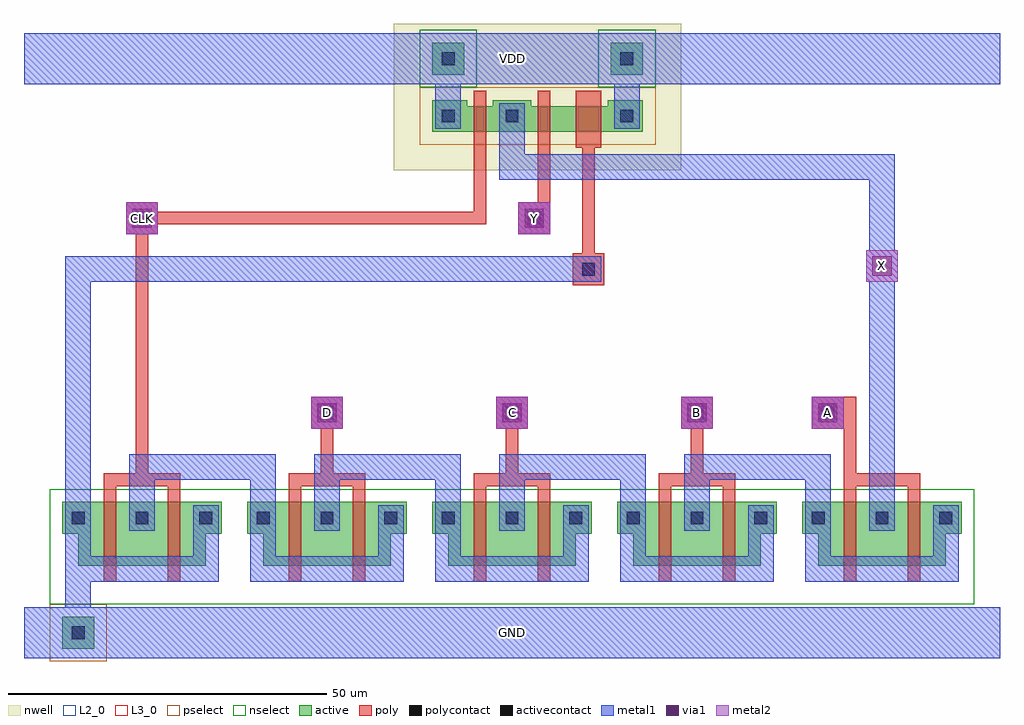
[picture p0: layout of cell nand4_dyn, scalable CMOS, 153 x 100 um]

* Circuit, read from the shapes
.subckt nand4_dyn A B C CLK D GND VDD X Y
M1 n1 CLK GND GND nfet w=10u l=2u m=2
M2 n2 D n1 GND nfet w=10u l=2u m=2
M3 n3 C n2 GND nfet w=10u l=2u m=2
M4 n4 B n3 GND nfet w=10u l=2u m=2
M5 X A n4 GND nfet w=10u l=2u m=2
M6 X CLK VDD VDD pfet w=4u l=2u
M7 n5 Y X VDD pfet w=4u l=2u
M8 VDD GND n5 VDD pfet w=4u l=4u
.ends

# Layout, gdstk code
import gdstk
lib = gdstk.Library(unit=1e-6, precision=1e-09)
def R(c, l, rs):  # rectangles x0, y0, x1, y1
    for r in rs: c.add(gdstk.rectangle(r[:2], r[2:], *l))
def A(c, l, x, y, w, h, nx, ny, dx, dy):  # array of equal rectangles
    R(c, l, [(x+i*dx, y+j*dy, x+i*dx+w, y+j*dy+h) for i in range(nx) for j in range(ny)])
def P(c, l, *ps):  # polygons
    for p in ps: c.add(gdstk.Polygon(p, *l))
L2_0 = (2, 0)
L3_0 = (3, 0)
nwell = (42, 0)
active = (43, 0)
pselect = (44, 0)
nselect = (45, 0)
poly = (46, 0)
polycontact = (47, 0)
activecontact = (48, 0)
metal1 = (49, 0)
via1 = (50, 0)
metal2 = (51, 0)

nand4_dyn = lib.new_cell('nand4_dyn')
R(nand4_dyn, L2_0, [(-58,-99.5,95,-91.5), (-58,-9.5,95,-1.5)])
A(nand4_dyn, L3_0, -13, -63.5, 5, 5, 3, 1, 29, 0)
R(nand4_dyn, L3_0, [(65.5,-63.5,70.5,-58.5), (74,-40.5,79,-35.5), (-42,-33,-37,-28), (19.5,-33,24.5,-28)])
R(nand4_dyn, nwell, [(0,-23,45,0)])
R(nand4_dyn, active, [(-52,-98,-47,-93), (6,-8,11,-3), (34,-8,39,-3)])
P(nand4_dyn, active, [(6,-17),(39,-17),(39,-12),(33.5,-12),(33.5,-13),(21.5,-13),(21.5,-12),(15.5,-12),(15.5,-13),(11.5,-13),(11.5,-12),(6,-12)],
  [(35,-80),(37.5,-80),(37.5,-85),(57.5,-85),(57.5,-80),(60,-80),(60,-75),(35,-75)],
  [(-52,-80),(-49.5,-80),(-49.5,-85),(-29.5,-85),(-29.5,-80),(-27,-80),(-27,-75),(-52,-75)],
  [(-23,-80),(-20.5,-80),(-20.5,-85),(-0.5,-85),(-0.5,-80),(2,-80),(2,-75),(-23,-75)],
  [(6,-80),(8.5,-80),(8.5,-85),(28.5,-85),(28.5,-80),(31,-80),(31,-75),(6,-75)],
  [(64,-80),(66.5,-80),(66.5,-85),(86.5,-85),(86.5,-80),(89,-80),(89,-75),(64,-75)])
R(nand4_dyn, pselect, [(-54,-100,-45,-91), (4,-19,41,-10)])
R(nand4_dyn, nselect, [(-54,-91,91,-73), (4,-10,13,-1), (32,-10,41,-1)])
A(nand4_dyn, poly, -13, -63.5, 5, 5, 3, 1, 29, 0)
R(nand4_dyn, poly, [(-45.5,-87.5,-43.5,-72.5), (-35.5,-87.5,-33.5,-72.5), (-16.5,-87.5,-14.5,-72.5), (-6.5,-87.5,-4.5,-72.5), (12.5,-87.5,14.5,-72.5), (22.5,-87.5,24.5,-72.5), (41.5,-87.5,43.5,-72.5), (51.5,-87.5,53.5,-72.5), (70.5,-87.5,72.5,-72.5), (80.5,-87.5,82.5,-72.5), (65.5,-63.5,70.5,-58.5), (28,-41,33,-36), (-42,-33,-37,-28), (19.5,-33,24.5,-28), (12.5,-19.5,14.5,-10.5), (22.5,-19.5,24.5,-10.5), (28.5,-19.5,32.5,-10.5)])
A(nand4_dyn, polycontact, -11.5, -62, 2, 2, 3, 1, 29, 0)
R(nand4_dyn, polycontact, [(67,-62,69,-60), (29.5,-39.5,31.5,-37.5), (-40.5,-31.5,-38.5,-29.5), (21,-31.5,23,-29.5)])
A(nand4_dyn, activecontact, -50.5, -78.5, 2, 2, 3, 1, 10, 0)
A(nand4_dyn, activecontact, -21.5, -78.5, 2, 2, 3, 1, 10, 0)
A(nand4_dyn, activecontact, 7.5, -78.5, 2, 2, 3, 1, 10, 0)
A(nand4_dyn, activecontact, 36.5, -78.5, 2, 2, 3, 1, 10, 0)
A(nand4_dyn, activecontact, 65.5, -78.5, 2, 2, 3, 1, 10, 0)
R(nand4_dyn, activecontact, [(-50.5,-96.5,-48.5,-94.5), (7.5,-15.5,9.5,-13.5), (17.5,-15.5,19.5,-13.5), (35.5,-15.5,37.5,-13.5), (7.5,-6.5,9.5,-4.5), (35.5,-6.5,37.5,-4.5)])
A(nand4_dyn, metal1, -51.5, -79.5, 4, 4, 3, 1, 10, 0)
A(nand4_dyn, metal1, -22.5, -79.5, 4, 4, 3, 1, 10, 0)
A(nand4_dyn, metal1, 6.5, -79.5, 4, 4, 3, 1, 10, 0)
A(nand4_dyn, metal1, 35.5, -79.5, 4, 4, 3, 1, 10, 0)
A(nand4_dyn, metal1, 64.5, -79.5, 4, 4, 3, 1, 10, 0)
A(nand4_dyn, metal1, -13, -63.5, 5, 5, 3, 1, 29, 0)
R(nand4_dyn, metal1, [(-58,-99.5,95,-91.5), (-51.5,-97.5,-47.5,-93.5), (65.5,-63.5,70.5,-58.5), (28.5,-40.5,32.5,-36.5), (74,-40.5,79,-35.5), (-42,-33,-37,-28), (19.5,-33,24.5,-28), (6.5,-16.5,10.5,-12.5), (16.5,-16.5,20.5,-12.5), (34.5,-16.5,38.5,-12.5), (-58,-9.5,95,-1.5), (6.5,-7.5,10.5,-3.5), (34.5,-7.5,38.5,-3.5)])
A(nand4_dyn, via1, -12, -62.5, 3, 3, 3, 1, 29, 0)
R(nand4_dyn, via1, [(66.5,-62.5,69.5,-59.5), (75,-39.5,78,-36.5), (-41,-32,-38,-29), (20.5,-32,23.5,-29)])
A(nand4_dyn, metal2, -13, -63.5, 5, 5, 3, 1, 29, 0)
R(nand4_dyn, metal2, [(65.5,-63.5,70.5,-58.5), (74,-40.5,79,-35.5), (-42,-33,-37,-28), (19.5,-33,24.5,-28)])
nand4_dyn.add(gdstk.FlexPath([(23.5,-19.5),(23.5,-28)], 2, ends="flush", simple_path=True, layer=46, datatype=0))  # poly
nand4_dyn.add(gdstk.FlexPath([(-39.5,-70.5),(-39.5,-63.5)], 2, ends="flush", simple_path=True, layer=46, datatype=0))  # poly
nand4_dyn.add(gdstk.FlexPath([(13.5,-19.5),(13.5,-30.5),(-39.5,-30.5),(-39.5,-63.5)], 2, ends="flush", simple_path=True, layer=46, datatype=0))  # poly
nand4_dyn.add(gdstk.FlexPath([(70.5,-71.5),(82.5,-71.5)], 2, ends="flush", simple_path=True, layer=46, datatype=0))  # poly
nand4_dyn.add(gdstk.FlexPath([(71.5,-70.5),(71.5,-58.5)], 2, ends="flush", simple_path=True, layer=46, datatype=0))  # poly
nand4_dyn.add(gdstk.FlexPath([(30.5,-19.5),(30.5,-36)], 2, ends="flush", simple_path=True, layer=46, datatype=0))  # poly
nand4_dyn.add(gdstk.FlexPath([(-45.5,-71.5),(-33.5,-71.5)], 2, ends="flush", simple_path=True, layer=46, datatype=0))  # poly
nand4_dyn.add(gdstk.FlexPath([(-16.5,-71.5),(-4.5,-71.5)], 2, ends="flush", simple_path=True, layer=46, datatype=0))  # poly
nand4_dyn.add(gdstk.FlexPath([(12.5,-71.5),(24.5,-71.5)], 2, ends="flush", simple_path=True, layer=46, datatype=0))  # poly
nand4_dyn.add(gdstk.FlexPath([(41.5,-71.5),(53.5,-71.5)], 2, ends="flush", simple_path=True, layer=46, datatype=0))  # poly
nand4_dyn.add(gdstk.FlexPath([(-10.5,-70.5),(-10.5,-63.5)], 2, ends="flush", simple_path=True, layer=46, datatype=0))  # poly
nand4_dyn.add(gdstk.FlexPath([(18.5,-70.5),(18.5,-63.5)], 2, ends="flush", simple_path=True, layer=46, datatype=0))  # poly
nand4_dyn.add(gdstk.FlexPath([(47.5,-70.5),(47.5,-63.5)], 2, ends="flush", simple_path=True, layer=46, datatype=0))  # poly
nand4_dyn.add(gdstk.FlexPath([(16.5,-22.5),(76.5,-22.5),(76.5,-24.5)], 4, ends="flush", simple_path=True, layer=49, datatype=0))  # metal1
nand4_dyn.add(gdstk.FlexPath([(8.5,-12.5),(8.5,-7.5)], 4, ends="flush", simple_path=True, layer=49, datatype=0))  # metal1
nand4_dyn.add(gdstk.FlexPath([(47.5,-75.5),(47.5,-69.5),(66.5,-69.5),(66.5,-75.5)], 4, ends="flush", simple_path=True, layer=49, datatype=0))  # metal1
nand4_dyn.add(gdstk.FlexPath([(76.5,-40.5),(76.5,-75.5)], 4, ends="flush", simple_path=True, layer=49, datatype=0))  # metal1
nand4_dyn.add(gdstk.FlexPath([(76.5,-35.5),(76.5,-24.5)], 4, ends="flush", simple_path=True, layer=49, datatype=0))  # metal1
nand4_dyn.add(gdstk.FlexPath([(18.5,-16.5),(18.5,-20.5)], 4, ends="flush", simple_path=True, layer=49, datatype=0))  # metal1
nand4_dyn.add(gdstk.FlexPath([(57.5,-79.5),(57.5,-85.5),(37.5,-85.5),(37.5,-79.5)], 4, ends="flush", simple_path=True, layer=49, datatype=0))  # metal1
nand4_dyn.add(gdstk.FlexPath([(36.5,-12.5),(36.5,-7.5)], 4, ends="flush", simple_path=True, layer=49, datatype=0))  # metal1
nand4_dyn.add(gdstk.FlexPath([(-29.5,-79.5),(-29.5,-85.5),(-49.5,-85.5),(-49.5,-79.5)], 4, ends="flush", simple_path=True, layer=49, datatype=0))  # metal1
nand4_dyn.add(gdstk.FlexPath([(-0.5,-79.5),(-0.5,-85.5),(-20.5,-85.5),(-20.5,-79.5)], 4, ends="flush", simple_path=True, layer=49, datatype=0))  # metal1
nand4_dyn.add(gdstk.FlexPath([(28.5,-79.5),(28.5,-85.5),(8.5,-85.5),(8.5,-79.5)], 4, ends="flush", simple_path=True, layer=49, datatype=0))  # metal1
nand4_dyn.add(gdstk.FlexPath([(86.5,-79.5),(86.5,-85.5),(66.5,-85.5),(66.5,-79.5)], 4, ends="flush", simple_path=True, layer=49, datatype=0))  # metal1
nand4_dyn.add(gdstk.FlexPath([(28.5,-38.5),(-49.5,-38.5),(-49.5,-75.5)], 4, ends="flush", simple_path=True, layer=49, datatype=0))  # metal1
nand4_dyn.add(gdstk.FlexPath([(-39.5,-75.5),(-39.5,-69.5),(-20.5,-69.5),(-20.5,-75.5)], 4, ends="flush", simple_path=True, layer=49, datatype=0))  # metal1
nand4_dyn.add(gdstk.FlexPath([(-10.5,-75.5),(-10.5,-69.5),(8.5,-69.5),(8.5,-75.5)], 4, ends="flush", simple_path=True, layer=49, datatype=0))  # metal1
nand4_dyn.add(gdstk.FlexPath([(18.5,-75.5),(18.5,-69.5),(37.5,-69.5),(37.5,-75.5)], 4, ends="flush", simple_path=True, layer=49, datatype=0))  # metal1
nand4_dyn.add(gdstk.FlexPath([(-49.5,-87.5),(-49.5,-93.5)], 4, ends="flush", simple_path=True, layer=49, datatype=0))  # metal1
nand4_dyn.add(gdstk.Label('VDD', (18.5,-5.5), layer=2, texttype=0))
nand4_dyn.add(gdstk.Label('GND', (18.5,-95.5), layer=2, texttype=0))
nand4_dyn.add(gdstk.Label('CLK', (-39.5,-30.5), layer=3, texttype=0))
nand4_dyn.add(gdstk.Label('D', (-10.5,-61), layer=3, texttype=0))
nand4_dyn.add(gdstk.Label('C', (18.5,-61), layer=3, texttype=0))
nand4_dyn.add(gdstk.Label('B', (47.5,-61), layer=3, texttype=0))
nand4_dyn.add(gdstk.Label('A', (68,-61), layer=3, texttype=0))
nand4_dyn.add(gdstk.Label('X', (76.5,-38), layer=3, texttype=0))
nand4_dyn.add(gdstk.Label('Y', (22,-30.5), layer=3, texttype=0))

lib.write_gds('nand4_dyn.gds')
